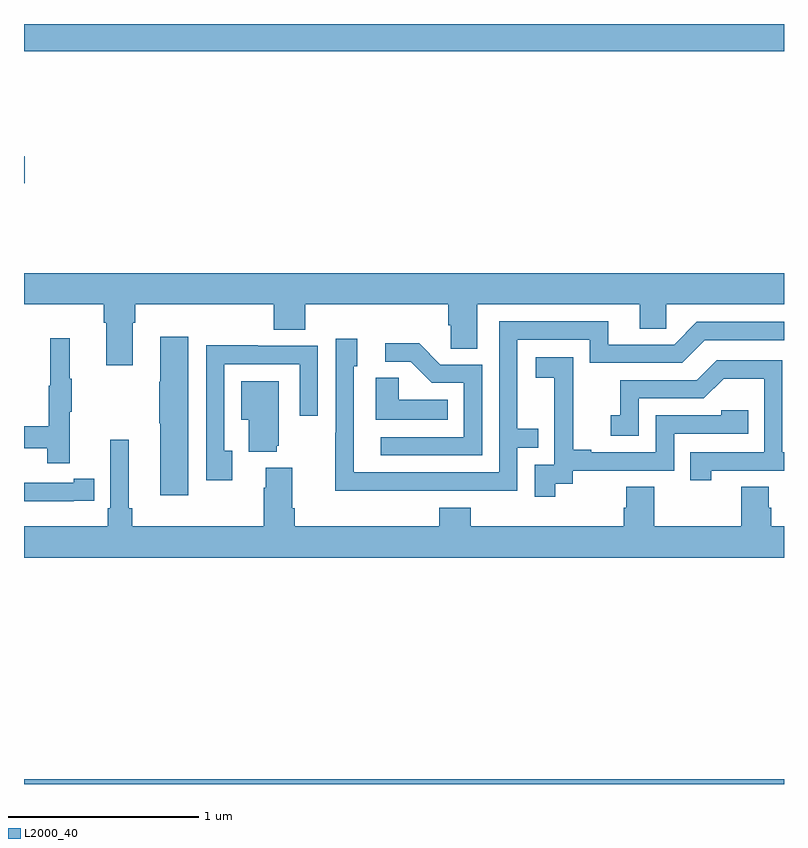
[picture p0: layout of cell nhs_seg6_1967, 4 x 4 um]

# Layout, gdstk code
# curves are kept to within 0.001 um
import gdstk
lib = gdstk.Library(unit=1e-6, precision=1e-09)
def R(c, l, rs):  # rectangles x0, y0, x1, y1
    for r in rs: c.add(gdstk.rectangle(r[:2], r[2:], *l))
def P(c, l, *ps):  # polygons
    for p in ps: c.add(gdstk.Polygon(p, *l))
L2000_40 = (2000, 40)

nhs_seg6_1967 = lib.new_cell('nhs_seg6_1967')
R(nhs_seg6_1967, L2000_40, [(229,923.5,233,923.524), (229,926.662,229.003,926.804), (229,927.356,233,927.5)])
P(nhs_seg6_1967, L2000_40, [(229,926.024),(229.421,926.024),(229.421,925.928),(229.433,925.928),(229.433,925.704),(229.573,925.704),(229.573,925.928),(229.586,925.928),(229.586,926.024),(230.315,926.024),(230.315,925.891),(230.48,925.891),(230.48,926.024),(231.233,926.024),(231.233,925.915),(231.246,925.915),(231.246,925.792),(231.385,925.792),(231.385,926.024),(232.241,926.024),(232.241,925.897),(232.38,925.897),(232.38,926.024),(233,926.024),(233,926.188),(229,926.188)],
  [(231.101,925.044),(231.597,925.044),(231.597,925.269),(231.707,925.269),(231.707,925.37),(231.597,925.37),(231.597,925.839),(231.978,925.839),(231.978,925.716),(232.464,925.716),(232.584,925.836),(233,925.836),(233,925.932),(232.542,925.932),(232.422,925.812),(232.075,925.812),(232.075,925.935),(231.501,925.935),(231.501,925.14),(230.736,925.14),(230.736,925.698),(230.755,925.698),(230.755,925.843),(230.64,925.843),(230.64,925.349),(230.638,925.349),(230.638,925.043)],
  [(229.864,925.855),(229.718,925.855),(229.718,925.616),(229.711,925.616),(229.711,925.399),(229.718,925.399),(229.718,925.02),(229.864,925.02)],
  [(229.241,925.459),(229.252,925.459),(229.252,925.633),(229.241,925.633),(229.241,925.846),(229.138,925.846),(229.138,925.596),(229.131,925.596),(229.131,925.382),(229,925.382),(229,925.266),(229.123,925.266),(229.123,925.188),(229.241,925.188)],
  [(231.411,925.707),(231.192,925.707),(231.079,925.82),(230.901,925.82),(230.901,925.722),(231.035,925.722),(231.146,925.611),(231.315,925.611),(231.315,925.326),(230.877,925.326),(230.877,925.23),(231.411,925.23)],
  [(230.095,925.254),(230.055,925.254),(230.055,925.71),(230.451,925.71),(230.451,925.437),(230.547,925.437),(230.547,925.806),(230.231,925.806),(230.231,925.808),(229.959,925.808),(229.959,925.098),(230.095,925.098)],
  [(231.796,925.081),(231.888,925.081),(231.888,925.149),(232.422,925.149),(232.422,925.344),(232.811,925.344),(232.811,925.467),(232.671,925.467),(232.671,925.44),(232.326,925.44),(232.326,925.245),(231.985,925.245),(231.985,925.258),(231.89,925.258),(231.89,925.541),(231.891,925.541),(231.891,925.747),(231.693,925.747),(231.693,925.637),(231.791,925.637),(231.791,925.409),(231.792,925.409),(231.792,925.179),(231.687,925.179),(231.687,925.011),(231.796,925.011)],
  [(232.618,925.149),(233,925.149),(233,925.245),(232.992,925.245),(232.992,925.731),(232.646,925.731),(232.541,925.626),(232.138,925.626),(232.138,925.441),(232.089,925.441),(232.089,925.332),(232.236,925.332),(232.236,925.53),(232.578,925.53),(232.682,925.634),(232.896,925.634),(232.896,925.245),(232.507,925.245),(232.507,925.098),(232.618,925.098)],
  [(231.23,925.522),(230.973,925.522),(230.973,925.637),(230.852,925.637),(230.852,925.418),(231.23,925.418)],
  [(230.33,925.281),(230.341,925.281),(230.341,925.621),(230.144,925.621),(230.144,925.418),(230.183,925.418),(230.183,925.25),(230.33,925.25)],
  [(233,924.856),(232.934,924.856),(232.934,924.954),(232.921,924.954),(232.921,925.064),(232.774,925.064),(232.774,924.856),(232.317,924.856),(232.317,925.064),(232.169,925.064),(232.169,924.954),(232.157,924.954),(232.157,924.856),(231.35,924.856),(231.35,924.955),(231.185,924.955),(231.185,924.856),(230.426,924.856),(230.426,924.952),(230.413,924.952),(230.413,925.165),(230.273,925.165),(230.273,925.058),(230.261,925.058),(230.261,924.856),(229.571,924.856),(229.571,924.952),(229.552,924.952),(229.552,925.312),(229.455,925.312),(229.455,924.952),(229.442,924.952),(229.442,924.856),(229,924.856),(229,924.692),(233,924.692)],
  [(229.262,924.99),(229.37,924.99),(229.37,925.106),(229.262,925.106),(229.262,925.086),(229,925.086),(229,924.989),(229.262,924.989)])

lib.write_gds('nhs_seg6_1967.gds')
